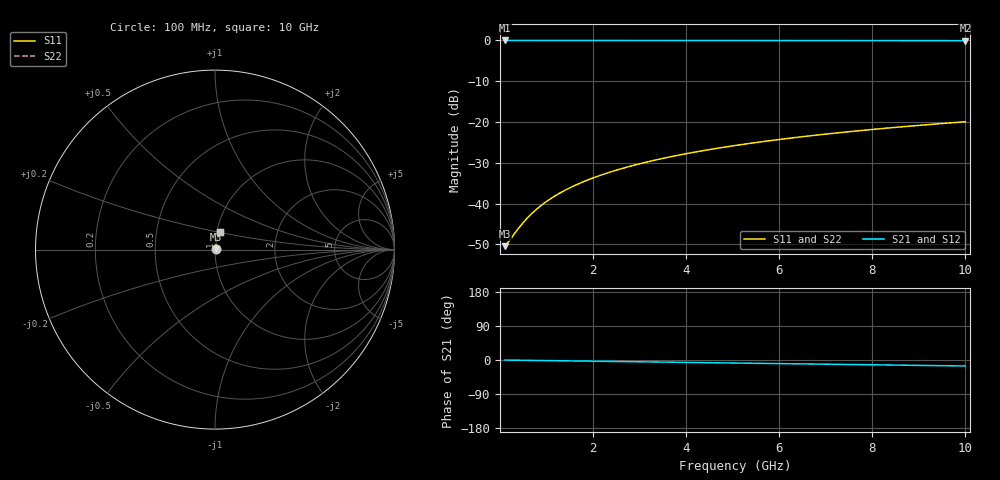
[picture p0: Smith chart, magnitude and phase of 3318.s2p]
# Hz S RI R 50.00
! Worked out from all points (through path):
!   100 points, 100 MHz to 10 GHz, reference 50 ohm
!   highest |S21| = -0.02 dB at 100 MHz (marker M1); lowest = -0.1 dB at 10 GHz (marker M2)
!   group delay of S21, straight-line fit = 4.39 ps
!   lowest |S11| = -50.4 dB at 100 MHz (marker M3), VSWR 1.01, Z = 50.3 + j0.102 ohm
!   |S11| at or under -10 dB: start of sweep to end of sweep
!   |S22| runs from -50.4 to -19.9 dB; largest |S21 - S12| = 0
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1e8  0.00284 0.00101  0.9972 -0.00275  0.9972 -0.00275  0.00284 0.00101
2e8  0.00286 0.00203  0.9971 -0.0055  0.9971 -0.0055  0.00286 0.00203
4e8  0.00292 0.00405  0.997 -0.011  0.997 -0.011  0.00292 0.00405
5e8  0.00295 0.00507  0.997 -0.0137  0.997 -0.0137  0.00295 0.00507
6e8  0.00299 0.00608  0.9969 -0.0165  0.9969 -0.0165  0.00299 0.00608
7e8  0.00303 0.00709  0.9969 -0.0192  0.9969 -0.0192  0.00303 0.00709
8e8  0.00308 0.0081  0.9968 -0.022  0.9968 -0.022  0.00308 0.0081
1e9  0.0032 0.0101  0.9966 -0.0275  0.9966 -0.0275  0.0032 0.0101
1.2e9  0.00333 0.0121  0.9964 -0.033  0.9964 -0.033  0.00333 0.0121
1.5e9  0.00357 0.0152  0.9961 -0.0412  0.9961 -0.0412  0.00357 0.0152
1.8e9  0.00386 0.0182  0.9956 -0.0495  0.9956 -0.0495  0.00386 0.0182
2.1e9  0.00419 0.0212  0.9951 -0.0577  0.9951 -0.0577  0.00419 0.0212
2.5e9  0.00472 0.0252  0.9943 -0.0687  0.9943 -0.0687  0.00472 0.0252
2.9e9  0.00533 0.0292  0.9934 -0.0796  0.9934 -0.0796  0.00533 0.0292
3.4e9  0.00622 0.0342  0.992 -0.0933  0.992 -0.0933  0.00622 0.0342
4.2e9  0.00793 0.0421  0.9893 -0.1151  0.9893 -0.1151  0.00793 0.0421
5.1e9  0.0103 0.0509  0.9857 -0.1396  0.9857 -0.1396  0.0103 0.0509
5.9e9  0.0127 0.0586  0.9819 -0.1612  0.9819 -0.1612  0.0127 0.0586
6.7e9  0.0155 0.0662  0.9776 -0.1827  0.9776 -0.1827  0.0155 0.0662
7.5e9  0.0186 0.0737  0.9728 -0.2041  0.9728 -0.2041  0.0186 0.0737
8.4e9  0.0225 0.0819  0.9667 -0.2279  0.9667 -0.2279  0.0225 0.0819
1e10  0.0303 0.096  0.9542 -0.2699  0.9542 -0.2699  0.0303 0.096
